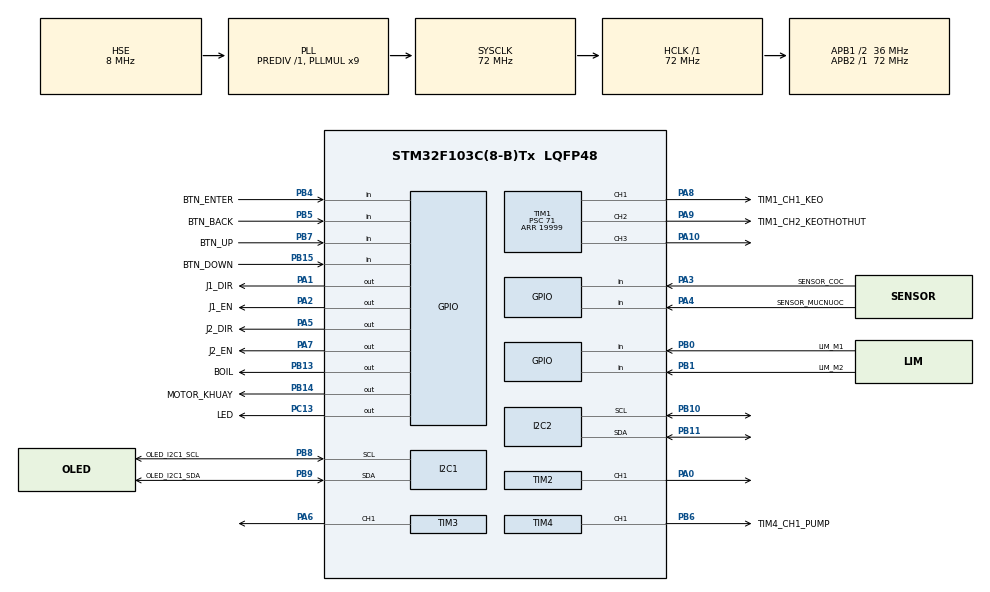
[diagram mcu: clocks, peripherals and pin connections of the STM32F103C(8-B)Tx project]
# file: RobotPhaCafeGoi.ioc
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Mcu.Family=STM32F1
Mcu.Name=STM32F103C(8-B)Tx
Mcu.Package=LQFP48
NVIC.PriorityGroup=NVIC_PRIORITYGROUP_4
NVIC.TIM2_IRQn=true\:0\:0\:false\:false\:true\:true\:true\:true
NVIC.TIM3_IRQn=true\:0\:0\:false\:false\:true\:true\:true\:true
PA0-WKUP.Signal=S_TIM2_CH1_ETR
PA1.GPIO_Label=J1_DIR
PA1.Signal=GPIO_Output
PA10.Signal=S_TIM1_CH3
PA13.Mode=Serial_Wire
PA13.Signal=SYS_JTMS-SWDIO
PA14.Mode=Serial_Wire
PA14.Signal=SYS_JTCK-SWCLK
PA2.GPIO_Label=J1_EN
PA2.Signal=GPIO_Output
PA3.GPIO_Label=SENSOR_COC
PA3.GPIO_PuPd=GPIO_PULLUP
PA3.Signal=GPIO_Input
PA4.GPIO_Label=SENSOR_MUCNUOC
PA4.GPIO_PuPd=GPIO_PULLUP
PA4.Signal=GPIO_Input
PA5.GPIO_Label=J2_DIR
PA5.Signal=GPIO_Output
PA6.Signal=S_TIM3_CH1
PA7.GPIO_Label=J2_EN
PA7.Signal=GPIO_Output
PA8.GPIO_Label=TIM1_CH1_KEO
PA8.Signal=S_TIM1_CH1
PA9.GPIO_Label=TIM1_CH2_KEOTHOTHUT
PA9.Signal=S_TIM1_CH2
PB0.GPIO_Label=LIM_M1
PB0.GPIO_PuPd=GPIO_PULLUP
PB0.Signal=GPIO_Input
PB1.GPIO_Label=LIM_M2
PB1.GPIO_PuPd=GPIO_PULLUP
PB1.Signal=GPIO_Input
PB10.Mode=I2C
PB10.Signal=I2C2_SCL
PB11.Mode=I2C
PB11.Signal=I2C2_SDA
PB13.GPIO_Label=BOIL
PB13.Signal=GPIO_Output
PB14.GPIO_Label=MOTOR_KHUAY
PB14.Signal=GPIO_Output
PB15.GPIO_Label=BTN_DOWN
PB15.GPIO_PuPd=GPIO_PULLUP
PB15.Signal=GPIO_Input
PB4.GPIO_Label=BTN_ENTER
PB4.GPIO_PuPd=GPIO_PULLUP
PB4.Signal=GPIO_Input
PB5.GPIO_Label=BTN_BACK
PB5.GPIO_PuPd=GPIO_PULLUP
PB5.Signal=GPIO_Input
PB6.GPIO_Label=TIM4_CH1_PUMP
PB6.Signal=S_TIM4_CH1
PB7.GPIO_Label=BTN_UP
PB7.GPIO_PuPd=GPIO_PULLUP
PB7.Signal=GPIO_Input
PB8.GPIO_Label=OLED_I2C1_SCL
PB8.Mode=I2C
PB8.Signal=I2C1_SCL
PB9.GPIO_Label=OLED_I2C1_SDA
PB9.Mode=I2C
PB9.Signal=I2C1_SDA
PC13-TAMPER-RTC.GPIO_Label=LED
PC13-TAMPER-RTC.Signal=GPIO_Output
PC14-OSC32_IN.Mode=LSE-External-Oscillator
PC14-OSC32_IN.Signal=RCC_OSC32_IN
PC15-OSC32_OUT.Mode=LSE-External-Oscillator
PC15-OSC32_OUT.Signal=RCC_OSC32_OUT
PD0-OSC_IN.Mode=HSE-External-Oscillator
PD0-OSC_IN.Signal=RCC_OSC_IN
PD1-OSC_OUT.Mode=HSE-External-Oscillator
PD1-OSC_OUT.Signal=RCC_OSC_OUT
ProjectManager.HeapSize=0x200
ProjectManager.StackSize=0x400
ProjectManager.TargetToolchain=STM32CubeIDE
RCC.AHBFreq_Value=72000000
RCC.APB1CLKDivider=RCC_HCLK_DIV2
RCC.APB1Freq_Value=36000000
RCC.APB1TimFreq_Value=72000000
RCC.APB2Freq_Value=72000000
RCC.APB2TimFreq_Value=72000000
RCC.HCLKFreq_Value=72000000
RCC.PLLMUL=RCC_PLL_MUL9
RCC.PLLSourceVirtual=RCC_PLLSOURCE_HSE
RCC.SYSCLKFreq_VALUE=72000000
RCC.SYSCLKSource=RCC_SYSCLKSOURCE_PLLCLK
RCC.USBFreq_Value=48000000
RCC.USBPrescaler=RCC_USBCLKSOURCE_PLL_DIV1_5
SH.S_TIM1_CH1.0=TIM1_CH1,PWM Generation1 CH1
SH.S_TIM1_CH2.0=TIM1_CH2,PWM Generation2 CH2
SH.S_TIM1_CH3.0=TIM1_CH3,PWM Generation3 CH3
SH.S_TIM2_CH1_ETR.0=TIM2_CH1,PWM Generation1 CH1
SH.S_TIM3_CH1.0=TIM3_CH1,PWM Generation1 CH1
SH.S_TIM4_CH1.0=TIM4_CH1,PWM Generation1 CH1
TIM1.Channel-PWM\ Generation1\ CH1=TIM_CHANNEL_1
TIM1.Channel-PWM\ Generation2\ CH2=TIM_CHANNEL_2
TIM1.Channel-PWM\ Generation3\ CH3=TIM_CHANNEL_3
TIM1.Period=19999
TIM1.Prescaler=71
TIM1.Pulse-PWM\ Generation1\ CH1=1000
TIM1.Pulse-PWM\ Generation2\ CH2=1000
TIM2.AutoReloadPreload=TIM_AUTORELOAD_PRELOAD_ENABLE
TIM2.Channel-PWM\ Generation1\ CH1=TIM_CHANNEL_1
TIM2.Period=1000
TIM2.Prescaler=71
TIM2.Pulse-PWM\ Generation1\ CH1=2
TIM3.AutoReloadPreload=TIM_AUTORELOAD_PRELOAD_ENABLE
TIM3.Channel-PWM\ Generation1\ CH1=TIM_CHANNEL_1
TIM3.Period=1000
TIM3.Prescaler=71
TIM3.Pulse-PWM\ Generation1\ CH1=2
TIM4.Channel-PWM\ Generation1\ CH1=TIM_CHANNEL_1
TIM4.Period=2000
TIM4.Prescaler=71
VP_TIM1_VS_ClockSourceINT.Mode=Internal
VP_TIM2_VS_ClockSourceINT.Mode=Internal
VP_TIM3_VS_ClockSourceINT.Mode=Internal
VP_TIM4_VS_ClockSourceINT.Mode=Internal
board=custom

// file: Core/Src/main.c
/* USER CODE BEGIN Header */
/**
  ******************************************************************************
  * @file           : main.c
  * @brief          : Main program body
  ******************************************************************************
  * @attention
  *
  * Copyright (c) 2026 STMicroelectronics.
  * All rights reserved.
  *
  * This software is licensed under terms that can be found in the LICENSE file
  * in the root directory of this software component.
  * If no LICENSE file comes with this software, it is provided AS-IS.
  *
  ******************************************************************************
  */
/* USER CODE END Header */
#include "main.h"
#include "i2c.h"
#include "tim.h"
#include "gpio.h"

/* USER CODE BEGIN Includes */
#include "ssd1306.h"
#include "OledUI.h"
#include "ssd1306_fonts.h"
#include <stdbool.h>
#include <stdio.h>
#include "AccelStepper.h"
/* USER CODE END Includes */

/* USER CODE BEGIN PD */
#define VALSV_KEO_IDLE 		1000		// lưỡi kéo ở vị trí nghỉ
#define VALSV_KEO_OPEN		1000		// Lưỡi kéo mở ra
#define VALSV_KEO_CLOSE		2300		// Lưỡi kéo khép lại
#define VALSV_THOTHUT_IDLE	2000	// Vị trí nghỉ để tránh va chạm
#define VALSV_THOTHUT_LV0	2000		// Vị trí kéo thụt vào hẳn
#define VALSV_THOTHUT_LV1	1400		// Vị trí kéo ở giữa
#define VALSV_THOTHUT_LV2	900		// Vị trí kéo thò ra xa nhất	max=900
#define VALSV_LATGOI_IDLE	1830		// Vị trí nghỉ để tránh va chạm
#define VALSV_LATGOI_LOCK	2200		// Vị trí Servo giữ khay đựng gói cafe để cắt miệng gói, tránh gói bị kéo đẩy nghiêng
#define VALSV_LATGOI_LATMAX	600			// Vị trí Servo đẩy gói cafe đổ lớn nhất
#define VALSV_LATGOI_LATMIN	800			// Vị trí Servo đẩy gói cafe đổ nhỏ nhất, dùng cho lắc gói

#define PUMP_SPEED			30				// % tốc độ của bơm
#define PUMP_TIMERUN_HIGH	18000			// Thời gian bật bơm cho cốc high
#define PUMP_TIMERUN_MEDIUM	13000			// Thời gian bật bơm cho cốc medium
#define PUMP_TIMERUN_SMALL	8000			// Thời gian bật bơm cho cốc small

#define MIXING_RANGE 	40000			// Số step cho 1 lượt quay Mixing
#define MIXING_TIMES 	8				// Số lần mixing đảo

#define J1_SPEED              12000
#define J1_ACCEL_MAX          50000
#define J1_HOME_SPEED         2000
#define J2_SPEED              15000
#define J2_ACCEL_MAX          20000
#define J2_HOME_SPEED         2000
#define J1_MOVE_TIMEOUT_MS    15000U
#define J2_MOVE_TIMEOUT_MS    15000U
#define HOME_SEEK_DISTANCE    25600

/* USER CODE END PD */

/* USER CODE BEGIN PM */
const long offsetToHome = 380;			// số step từ vị trí homming đến khay đầu tiên
const long stepSpaceKhay = 1333;		// số step để di chuyển tới khay tiếp theo
/* USER CODE END PM */

/* USER CODE BEGIN PV */

struct AccelStepperData motor_j1_data,motor_j2_data,motor_j3_data;// Variable of Stepper
volatile bool j1IsHoming = false;
uint8_t countPacket =18;	// số lượng gói cafe
int8_t levelWater = 1;		// lượng nước pha cafe gói

/* USER CODE END PV */

void SystemClock_Config(void);
/* USER CODE BEGIN PFP */
// for Motor J1 J2
void HAL_TIM_PWM_PulseFinishedCallback(TIM_HandleTypeDef *htim)
{
	if(htim->Instance==TIM2)								// Stepper J1
	{
		if(j1IsHoming){
			if(HAL_GPIO_ReadPin(LIM_M1_GPIO_Port, LIM_M1_Pin)==GPIO_PIN_RESET)
			{
				motor_j1_data._currentPos=0;
				motor_j1_data._targetPos =0;
				j1IsHoming = false;
			}
		}
		run(&motor_j1_data);							// Update position & speed each pulse
	}
	if(htim->Instance==TIM3)							// Stepper J2
	{
		run(&motor_j2_data);
	}
}
/* USER CODE END PFP */

/* USER CODE BEGIN 0 */
// Pulse Width for Servo: 600->2500

void InitRcServos()
{
	HAL_TIM_PWM_Start(&htim1, TIM_CHANNEL_1);	// kéo
	HAL_TIM_PWM_Start(&htim1, TIM_CHANNEL_2);	// thò thụt
	HAL_TIM_PWM_Start(&htim1, TIM_CHANNEL_3);	// lật gói
	TIM1->CCR1 = VALSV_KEO_IDLE;
	TIM1->CCR2 = VALSV_THOTHUT_IDLE;
	TIM1->CCR3 = VALSV_LATGOI_IDLE;
	HAL_Delay(2000);
	TIM1->CCR1 = 0;
	TIM1->CCR2 = 0;
	TIM1->CCR3 = 0;
}

void InitPump()
{
	HAL_TIM_PWM_Start(&htim4, TIM_CHANNEL_1);
	TIM4->CCR1 = 0;
}
void AddingWater()
{
    TIM4->CCR1 = (uint16_t)((PUMP_SPEED * 2000U) / 100U);	// Bật bơm nước
    HAL_GPIO_WritePin(BOIL_GPIO_Port, BOIL_Pin, GPIO_PIN_SET);		// Bật thanh gia nhiệt, cần kiểm tra cẩn thận bước này
    switch(levelWater)
    {
    case 0:
    	 HAL_Delay(PUMP_TIMERUN_SMALL);
    	break;
    case 1:
    	HAL_Delay(PUMP_TIMERUN_MEDIUM);
    	break;
    case 2:
    	HAL_Delay(PUMP_TIMERUN_HIGH);
    	break;
    }
    TIM4->CCR1=0;
    HAL_GPIO_WritePin(BOIL_GPIO_Port, BOIL_Pin, GPIO_PIN_RESET);	// Tắt thanh gia nhiệt, cần kiểm tra cẩn thận bước này
}

void khaylatup()
{
	TIM1->CCR3 = VALSV_LATGOI_LATMAX;
	HAL_Delay(1700);
}

void khayLatngua()
{
	TIM1->CCR3=VALSV_LATGOI_LOCK; //2100
	HAL_Delay(1500);
	TIM1->CCR3=0;
}
void khayLock()
{
	TIM1->CCR3=VALSV_LATGOI_LOCK;
	HAL_Delay(1000);
	TIM1->CCR3 = 0;
}

void khayIdle()
{
	TIM1->CCR3=VALSV_LATGOI_IDLE;
	HAL_Delay(500);
}
void keocat()
{
	TIM1->CCR1 =VALSV_KEO_CLOSE; //2300;
	HAL_Delay(900);
	TIM1->CCR1 = VALSV_KEO_OPEN;//1200;
	HAL_Delay(900);
}
void catMiengGoi()
{
	  TIM1->CCR2 = VALSV_THOTHUT_LV0; //2300;
	  HAL_Delay(500);
	  TIM1->CCR2 =  VALSV_THOTHUT_LV1;//1600;
	  HAL_Delay(500);
	  keocat();
	  TIM1->CCR2 = VALSV_THOTHUT_LV2;//1250;
	  HAL_Delay(500);
	  keocat();
	  TIM1->CCR2 = VALSV_THOTHUT_LV0;//2300;
	  HAL_Delay(500);
	  TIM1->CCR1 = 0;
	  TIM1->CCR2 = 0;
}

void J1MoveTo(long pos){
	enableStepper(&motor_j1_data, ON);
	moveTo(&motor_j1_data, pos);
	run(&motor_j1_data);										// Prime first step & set ARR
	while( isRunning(&motor_j1_data)>0){						// run() called from TIM2 interrupt
		__NOP();
	}
	enableStepper(&motor_j1_data, OFF);
}

void J2MoveTo(long pos){
	enableStepper(&motor_j2_data, ON);
	moveTo(&motor_j2_data, pos);
	run(&motor_j2_data);										// Prime first step & set ARR
	while( isRunning(&motor_j2_data)>0){						// run() called from TIM3 interrupt
		__NOP();
	}
	enableStepper(&motor_j2_data, OFF);
}

void khayRung()
{
	setMaxSpeed(&motor_j1_data, J1_SPEED);
	long currentpos = motor_j1_data._currentPos;
	for(int i=0;i<20;i++)
	{
		TIM1->CCR3 = 600;
		J1MoveTo(currentpos + 70);

		TIM1->CCR3 = 800;
		J1MoveTo(currentpos-70);
	}
}

void InitMotorJ1()
{
	motor_j1_data.GPIO_PIN_Dir		= J1_DIR_Pin;
	motor_j1_data.GPIO_PORT_Dir		= J1_DIR_GPIO_Port;
	motor_j1_data.GPIO_PORT_Enable	= J1_EN_GPIO_Port;
	motor_j1_data.GPIO_PIN_Enable	= J1_EN_Pin;
	motor_j1_data.USER_TIMER		= TIM2;
	motor_j1_data.TIM_CHANEL		= TIM_CHANNEL_1;
	motor_j1_data.isStop			= false;
	AccelStepper_init(&motor_j1_data, htim2, 0, J1_SPEED, J1_ACCEL_MAX);
	HAL_TIM_PWM_Start_IT(&htim2, TIM_CHANNEL_1);	// Start interrupt on global htim2 handle
	enableStepper(&motor_j1_data, OFF);
}

void InitMotorJ2()
{
	motor_j2_data.GPIO_PIN_Dir		= J2_DIR_Pin;
	motor_j2_data.GPIO_PORT_Dir		= J2_DIR_GPIO_Port;
	motor_j2_data.GPIO_PORT_Enable	= J2_EN_GPIO_Port;
	motor_j2_data.GPIO_PIN_Enable	= J2_EN_Pin;
	motor_j2_data.USER_TIMER		= TIM3;
	motor_j2_data.TIM_CHANEL		= TIM_CHANNEL_1;
	motor_j2_data.isStop			= false;
	AccelStepper_init(&motor_j2_data, htim3, 0, J2_SPEED, J2_ACCEL_MAX);
	HAL_TIM_PWM_Start_IT(&htim3, TIM_CHANNEL_1);	// Start interrupt on global htim3 handle
	enableStepper(&motor_j2_data, OFF);
}

void J1Homing()
{
	j1IsHoming = true;
	setMaxSpeed(&motor_j1_data, J1_HOME_SPEED);
	J1MoveTo(-HOME_SEEK_DISTANCE);
}

void Mixing()
{
	for(int i=0;i<MIXING_TIMES;i++)
	{
		J2MoveTo(MIXING_RANGE);
		HAL_Delay(500);
		J2MoveTo(0);
		HAL_Delay(500);
	}
	HAL_Delay(1000);
}
void Brewing()
{
	// Bước 0:
	UI_Brewing(0);
	khayIdle();
	// Bước 1: di chuyển bệ khay đến vị trí gói cafe cần thao tác
	J1Homing();
	// tính khoảng cách đến gói cafe
	long packetIdx = PACKET_MAX - (int32_t)countPacket;
	if (packetIdx < 0 || packetIdx >=PACKET_MAX) {
		return;											// nếu countPacket<=0 hoặc số gói lớn hơn PACKET_MAX thì return
	}
	long packetTarget = (int32_t)offsetToHome + (packetIdx * (int32_t)stepSpaceKhay);
	setMaxSpeed(&motor_j1_data, J1_SPEED);
	J1MoveTo(packetTarget);
	HAL_Delay(300);

	// Bước 2: Cắt miệng gói cafe
	UI_Brewing(1);
	khayLock();		// sử dụng động cơ lật gói tì vào khay chứa gói cafe ngăn không cho khay chứa di chuyển trong quá trình cắt miệng gói
	catMiengGoi();

	// Bước 3: Đổ cafe vào cốc
	UI_Brewing(2);
	khaylatup();
	khayRung();
	khayLatngua();
	khayIdle();

	// Bước 4: Đun sôi nước và Bơm nước vào cốc
	UI_Brewing(3);
	AddingWater();

	// Bước 5: Khuấy
	UI_Brewing(4);
	Mixing();

	countPacket--;
}

/* USER CODE END 0 */

int main(void)
{

  /* MCU Configuration--------------------------------------------------------*/

  /* Reset of all peripherals, Initializes the Flash interface and the Systick. */
  HAL_Init();

  /* Configure the system clock */
  SystemClock_Config();

  /* Initialize all configured peripherals */
  MX_GPIO_Init();
  MX_I2C1_Init();
  MX_I2C2_Init();
  MX_TIM1_Init();
  MX_TIM3_Init();
  MX_TIM2_Init();
  MX_TIM4_Init();
  /* USER CODE BEGIN 2 */
  InitPump();
  ssd1306_Init();
  Ui_RenderBoot();
  InitRcServos();
  InitMotorJ1();
  InitMotorJ2();

  /* USER CODE END 2 */

  /* Infinite loop */
  /* USER CODE BEGIN WHILE */
  while (1)
  {

	  int next = HomeScreen();
	  if(next==1)	// Brewing
	  {
	  	  if(!SENSOR_WATER_IS_OK)
	  	  {
	  		  WarningScreen(LOW_WATER);
	  	  }else if(!SENSOR_CUP_IS_OK){
	  		  WarningScreen(NO_CUP);
	  	  }else if(countPacket <=0){
	  		  WarningScreen(NO_COFFEE);
	  	  }else{
	  		  Brewing();
	  		  BrewCompleteScreen();
	  	  }
	  }else if(next==2)
	  {
	  	  PacketEditorScreen();
	  }

	  HAL_Delay(1);
    /* USER CODE END WHILE */

  }
}

void SystemClock_Config(void)
{
  RCC_OscInitTypeDef RCC_OscInitStruct = {0};
  RCC_ClkInitTypeDef RCC_ClkInitStruct = {0};

  /** Initializes the RCC Oscillators according to the specified parameters
  * in the RCC_OscInitTypeDef structure.
  */
  RCC_OscInitStruct.OscillatorType = RCC_OSCILLATORTYPE_HSE;
  RCC_OscInitStruct.HSEState = RCC_HSE_ON;
  RCC_OscInitStruct.HSEPredivValue = RCC_HSE_PREDIV_DIV1;
  RCC_OscInitStruct.HSIState = RCC_HSI_ON;
  RCC_OscInitStruct.PLL.PLLState = RCC_PLL_ON;
  RCC_OscInitStruct.PLL.PLLSource = RCC_PLLSOURCE_HSE;
  RCC_OscInitStruct.PLL.PLLMUL = RCC_PLL_MUL9;
  if (HAL_RCC_OscConfig(&RCC_OscInitStruct) != HAL_OK)
  {
    Error_Handler();
  }

  /** Initializes the CPU, AHB and APB buses clocks
  */
  RCC_ClkInitStruct.ClockType = RCC_CLOCKTYPE_HCLK|RCC_CLOCKTYPE_SYSCLK
                              |RCC_CLOCKTYPE_PCLK1|RCC_CLOCKTYPE_PCLK2;
  RCC_ClkInitStruct.SYSCLKSource = RCC_SYSCLKSOURCE_PLLCLK;
  RCC_ClkInitStruct.AHBCLKDivider = RCC_SYSCLK_DIV1;
  RCC_ClkInitStruct.APB1CLKDivider = RCC_HCLK_DIV2;
  RCC_ClkInitStruct.APB2CLKDivider = RCC_HCLK_DIV1;

  if (HAL_RCC_ClockConfig(&RCC_ClkInitStruct, FLASH_LATENCY_2) != HAL_OK)
  {
    Error_Handler();
  }
}

void Error_Handler(void)
{
  __disable_irq();
  while (1)
  {
  }
}
